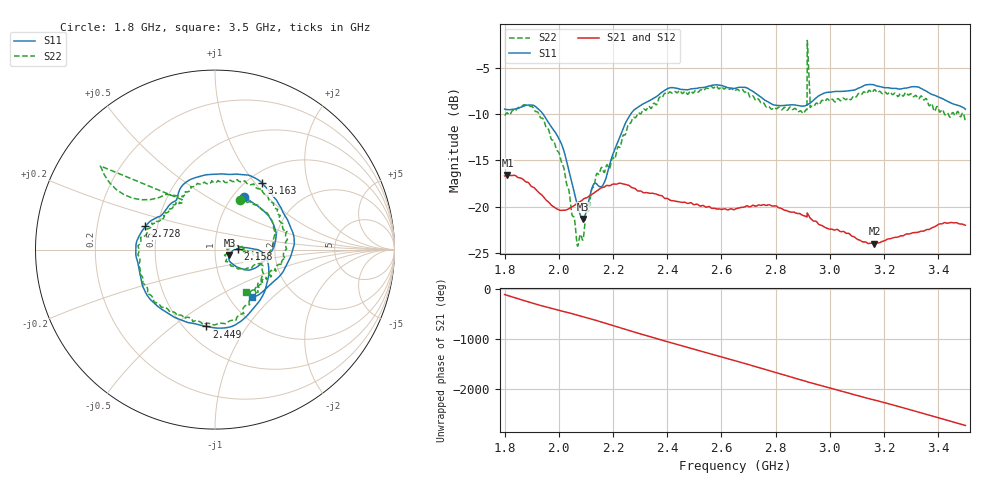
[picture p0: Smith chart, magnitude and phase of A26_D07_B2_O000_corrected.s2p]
! Created with skrf 1.9.0 (http://scikit-rf.org).
# Hz S RI R 50.0
!freq ReS11 ImS11 ReS21 ImS21 ReS12 ImS12 ReS22 ImS22
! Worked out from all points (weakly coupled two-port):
!   1601 points, 1.8 GHz to 3.5 GHz, reference 50 ohm
!   highest |S21| = -16.57 dB at 1.811 GHz (marker M1); lowest = -24.0 dB at 3.164 GHz (marker M2)
!   lowest |S11| = -21.3 dB at 2.09 GHz (marker M3), VSWR 1.19, Z = 58.6 - j3.59 ohm
!   |S11| at or under -10 dB: 1.942 GHz to 2.265 GHz (322.9 MHz wide, 15.4 % of centre)
!   |S22| runs from -24.3 to -2.0 dB; largest |S21 - S12| = 0.0027
!   S11 on the Smith chart (normalised r, x): 1.8 GHz: 1.12, +0.75; 2.158 GHz: 1.29, +0.01; 2.449 GHz: 0.64, -0.67; 2.728 GHz: 0.43, +0.13; 3.163 GHz: 1.16, +1.09; 3.5 GHz: 1.27, -0.76
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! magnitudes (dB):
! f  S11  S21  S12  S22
! 1.8 GHz  -9.4  -16.7  -16.7  -10.1
! 1.811 GHz  -9.5  -16.6  -16.6  -9.9
! 1.882 GHz  -9.0  -17.3  -17.3  -9.0
! 1.942 GHz  -10.0  -18.9  -18.9  -10.5
! 2.013 GHz  -13.4  -20.4  -20.4  -15.4
! 2.067 GHz  -19.6  -19.6  -19.6  -24.0
! 2.084 GHz  -21.2  -19.4  -19.3  -23.2
! 2.09 GHz  -21.3  -19.2  -19.2  -23.5
! 2.127 GHz  -17.6  -18.6  -18.6  -17.9
! 2.158 GHz  -17.8  -17.9  -17.9  -15.7
! 2.26 GHz  -10.2  -17.7  -17.7  -11.0
! 2.367 GHz  -7.9  -18.7  -18.7  -8.4
! 2.449 GHz  -7.3  -19.5  -19.5  -7.5
! 2.65 GHz  -7.2  -20.3  -20.3  -7.5
! 2.728 GHz  -7.8  -19.9  -20.0  -8.5
! 2.903 GHz  -9.1  -21.0  -21.0  -9.9
! 2.925 GHz  -8.8  -21.1  -21.1  -7.4
! 2.934 GHz  -8.6  -21.4  -21.4  -9.2
! 3.163 GHz  -6.8  -24.0  -24.0  -7.4
! 3.164 GHz  -6.8  -24.0  -24.0  -7.4
! 3.217 GHz  -7.2  -23.5  -23.4  -7.7
! 3.5 GHz  -9.5  -22.0  -22.0  -10.7
